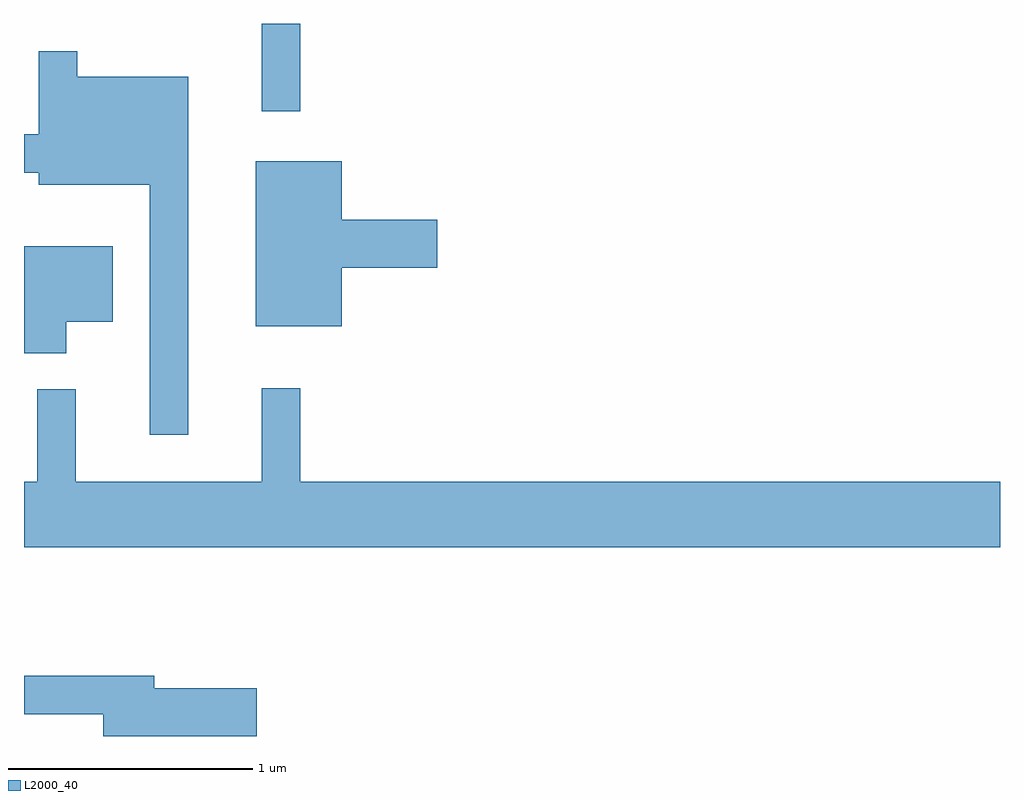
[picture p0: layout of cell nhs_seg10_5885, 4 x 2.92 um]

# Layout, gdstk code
import gdstk
lib = gdstk.Library(unit=1e-6, precision=1e-09)
def R(c, l, rs):  # rectangles x0, y0, x1, y1
    for r in rs: c.add(gdstk.rectangle(r[:2], r[2:], *l))
def P(c, l, *ps):  # polygons
    for p in ps: c.add(gdstk.Polygon(p, *l))
L2000_40 = (2000, 40)

nhs_seg10_5885 = lib.new_cell('nhs_seg10_5885')
R(nhs_seg10_5885, L2000_40, [(360.586,2100.163,360.744,2100.522)])
P(nhs_seg10_5885, L2000_40, [(360.284,2100.304),(359.829,2100.304),(359.829,2100.408),(359.671,2100.408),(359.671,2100.069),(359.611,2100.069),(359.611,2099.911),(359.671,2099.911),(359.671,2099.861),(360.126,2099.861),(360.126,2098.838),(360.284,2098.838)],
  [(360.914,2099.521),(361.304,2099.521),(361.304,2099.719),(360.914,2099.719),(360.914,2099.959),(360.561,2099.959),(360.561,2099.281),(360.914,2099.281)],
  [(359.784,2099.301),(359.974,2099.301),(359.974,2099.609),(359.611,2099.609),(359.611,2099.171),(359.784,2099.171)],
  [(363.611,2098.644),(360.744,2098.644),(360.744,2099.028),(360.586,2099.028),(360.586,2098.644),(359.824,2098.644),(359.824,2099.023),(359.666,2099.023),(359.666,2098.644),(359.611,2098.644),(359.611,2098.376),(363.611,2098.376)],
  [(360.564,2097.799),(360.144,2097.799),(360.144,2097.849),(359.611,2097.849),(359.611,2097.691),(359.936,2097.691),(359.936,2097.601),(360.564,2097.601)])

lib.write_gds('nhs_seg10_5885.gds')
